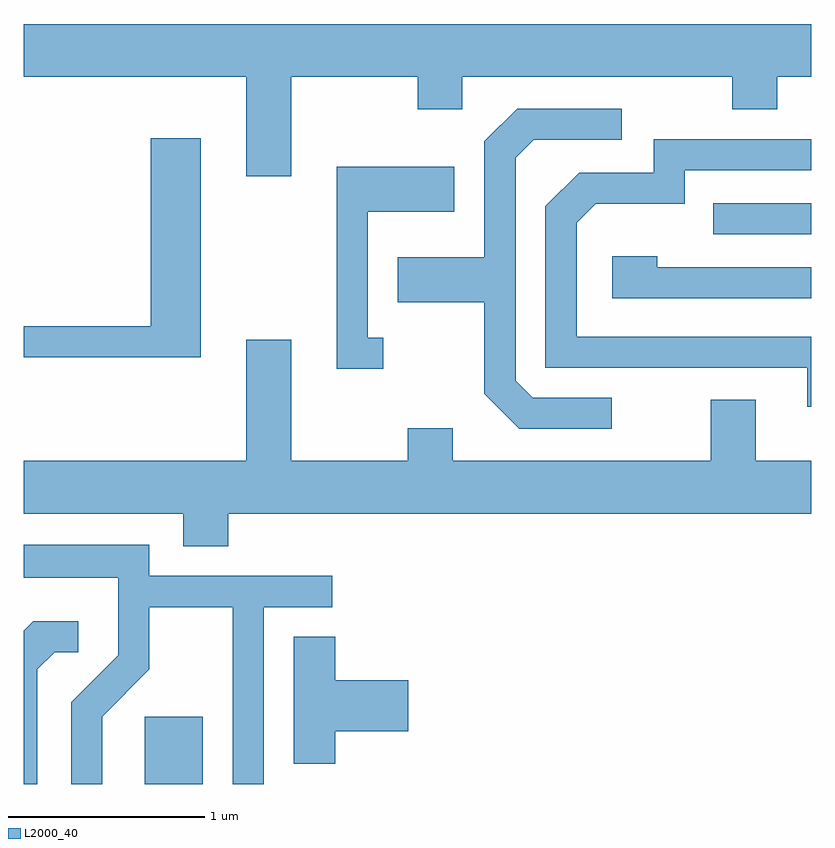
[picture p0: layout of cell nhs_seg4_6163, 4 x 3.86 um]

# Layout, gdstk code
import gdstk
lib = gdstk.Library(unit=1e-6, precision=1e-09)
def R(c, l, rs):  # rectangles x0, y0, x1, y1
    for r in rs: c.add(gdstk.rectangle(r[:2], r[2:], *l))
def P(c, l, *ps):  # polygons
    for p in ps: c.add(gdstk.Polygon(p, *l))
L2000_40 = (2000, 40)

nhs_seg4_6163 = lib.new_cell('nhs_seg4_6163')
R(nhs_seg4_6163, L2000_40, [(366.226,1339.982,366.519,1340.324), (369.113,1342.776,369.611,1342.934)])
P(nhs_seg4_6163, L2000_40, [(365.611,1343.576),(366.741,1343.576),(366.741,1343.071),(366.969,1343.071),(366.969,1343.576),(367.611,1343.576),(367.611,1343.411),(367.839,1343.411),(367.839,1343.576),(369.211,1343.576),(369.211,1343.411),(369.439,1343.411),(369.439,1343.576),(369.611,1343.576),(369.611,1343.844),(365.611,1343.844)],
  [(368.598,1341.944),(368.197,1341.944),(368.109,1342.032),(368.109,1343.164),(368.202,1343.256),(368.648,1343.256),(368.648,1343.414),(368.119,1343.414),(367.951,1343.247),(367.951,1342.659),(367.511,1342.659),(367.511,1342.431),(367.951,1342.431),(367.951,1341.964),(368.129,1341.786),(368.598,1341.786)],
  [(366.509,1343.264),(366.256,1343.264),(366.256,1342.309),(365.611,1342.309),(365.611,1342.151),(366.509,1342.151)],
  [(369.611,1342.254),(368.419,1342.254),(368.419,1342.834),(368.517,1342.931),(368.969,1342.931),(368.969,1343.101),(369.611,1343.101),(369.611,1343.259),(368.811,1343.259),(368.811,1343.089),(368.434,1343.089),(368.261,1342.917),(368.261,1342.096),(369.591,1342.096),(369.591,1341.898),(369.611,1341.898)],
  [(367.438,1342.249),(367.359,1342.249),(367.359,1342.891),(367.799,1342.891),(367.799,1343.119),(367.201,1343.119),(367.201,1342.091),(367.438,1342.091)],
  [(369.611,1342.609),(368.829,1342.609),(368.829,1342.664),(368.601,1342.664),(368.601,1342.451),(369.611,1342.451)],
  [(366.649,1341.356),(369.611,1341.356),(369.611,1341.624),(369.329,1341.624),(369.329,1341.934),(369.101,1341.934),(369.101,1341.624),(367.789,1341.624),(367.789,1341.789),(367.561,1341.789),(367.561,1341.624),(366.969,1341.624),(366.969,1342.239),(366.741,1342.239),(366.741,1341.624),(365.611,1341.624),(365.611,1341.356),(366.421,1341.356),(366.421,1341.191),(366.649,1341.191)],
  [(366.009,1340.324),(366.249,1340.564),(366.249,1340.881),(366.671,1340.881),(366.671,1339.982),(366.829,1339.982),(366.829,1340.881),(367.178,1340.881),(367.178,1341.039),(366.249,1341.039),(366.249,1341.199),(365.611,1341.199),(365.611,1341.031),(366.091,1341.031),(366.091,1340.637),(365.851,1340.397),(365.851,1339.982),(366.009,1339.982)],
  [(365.679,1340.564),(365.767,1340.651),(365.888,1340.651),(365.888,1340.809),(365.659,1340.809),(365.611,1340.761),(365.611,1339.982),(365.679,1339.982)],
  [(367.194,1340.251),(367.564,1340.251),(367.564,1340.509),(367.194,1340.509),(367.194,1340.729),(366.981,1340.729),(366.981,1340.086),(367.194,1340.086)])

lib.write_gds('nhs_seg4_6163.gds')
